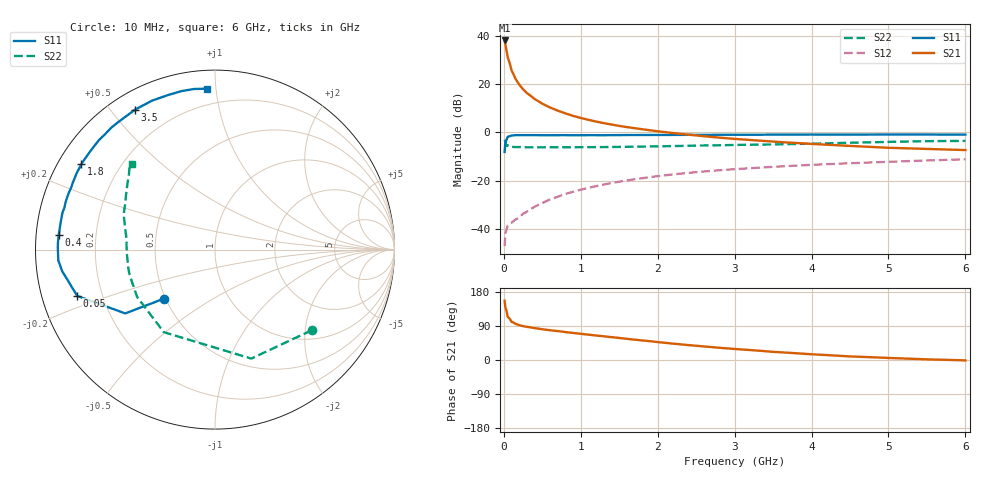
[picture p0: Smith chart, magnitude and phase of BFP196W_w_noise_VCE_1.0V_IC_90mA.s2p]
! Infineon Technologies  Discrete & RF Semiconductors
! BFP196W
! VCE =  1.0 V,  IC =  90 mA
! Common Emitter S-Parameters:  Jan 2017
# GHz  S  MA  R  50
!  f  S11  S21  S12  S22
! GHz  MAG  ANG  MAG  ANG  MAG  ANG  MAG  ANG
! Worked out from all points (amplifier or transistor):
!   77 points, 10 MHz to 6 GHz, reference 50 ohm
!   highest |S21| = 38.1 dB at 10 MHz (marker M1)
!   |S21| within 3 dB of that: start of sweep to 28.21 MHz
!   unconditionally stable (mu >= 1): 306.6 MHz to end of sweep
!   at 130 MHz: K = 0.69, MSG = 30.2 dB, |S12| = -36.7 dB
!   at 2.2 GHz: K = 1.08, MAG = 6.8 dB, |S12| = -17.4 dB
!   at 6 GHz: K = 1.05, MAG = 0.6 dB, |S12| = -11.1 dB
!   lowest NFmin = 1.78 dB at 450 MHz
!   S11 on the Smith chart (normalised r, x): 10 MHz: 0.49, -0.32; 50 MHz: 0.11, -0.16; 400 MHz: 0.07, +0.05; 1.8 GHz: 0.07, +0.29; 3.5 GHz: 0.07, +0.58; 6 GHz: 0.10, +0.95
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0.01  0.3938 -136.1  80.01 156.6  0.0044 63.8  0.7012 -39.9
0.02  0.6138 -144.6  65.66 138.4  0.008 57.0  0.6401 -71.6
0.05  0.8096 -161.4  35.85 113.6  0.0117 38.6  0.5412 -121.8
0.1  0.8596 -171.9  19.17 100.8  0.0134 42.1  0.5078 -148.7
0.15  0.8752 -176.0  12.96 95.5  0.0156 47.5  0.4962 -159.4
0.2  0.8749 -178.9  9.755 92.0  0.0173 51.5  0.4957 -164.7
0.25  0.8759 179.3  7.811 89.3  0.0207 55.5  0.4936 -168.3
0.3  0.8759 177.6  6.509 87.5  0.0228 58.9  0.491 -170.7
0.4  0.8749 174.8  4.9 84.0  0.0288 62.6  0.4911 -174.0
0.5  0.8731 172.6  3.919 81.2  0.0344 64.5  0.491 -176.3
0.6  0.8731 170.4  3.281 78.5  0.0408 65.4  0.4935 -178.1
0.7  0.8735 168.4  2.815 76.4  0.0464 67.2  0.4914 -179.6
0.9  0.871 164.3  2.195 71.4  0.0587 66.6  0.4931 178.1
1.1  0.8738 160.6  1.819 66.9  0.0711 66.4  0.4942 175.8
1.4  0.8755 154.9  1.454 60.3  0.0893 64.4  0.4981 172.8
1.8  0.8832 147.4  1.161 51.5  0.1125 60.6  0.5078 168.8
2.1  0.8845 142.0  1.01 45.3  0.1293 57.2  0.517 165.9
3.1  0.8918 125.7  0.714 27.7  0.1769 46.4  0.5513 156.5
3.5  0.8981 119.7  0.644 21.5  0.1933 42.6  0.5627 152.7
4.1  0.9 111.6  0.566 14.0  0.2159 36.8  0.5883 147.1
5.1  0.9022 100.9  0.474 4.7  0.2489 28.1  0.6394 138.5
6  0.8974 92.8  0.43 -1.0  0.2771 20.9  0.6657 134.0
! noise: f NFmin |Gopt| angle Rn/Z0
0.45  1.78  0.58  -175  0.06
0.9  1.93  0.6  -168  0.08
1.9  2.83  0.71  -147  0.22
2.4  3.27  0.75  -142  0.36
